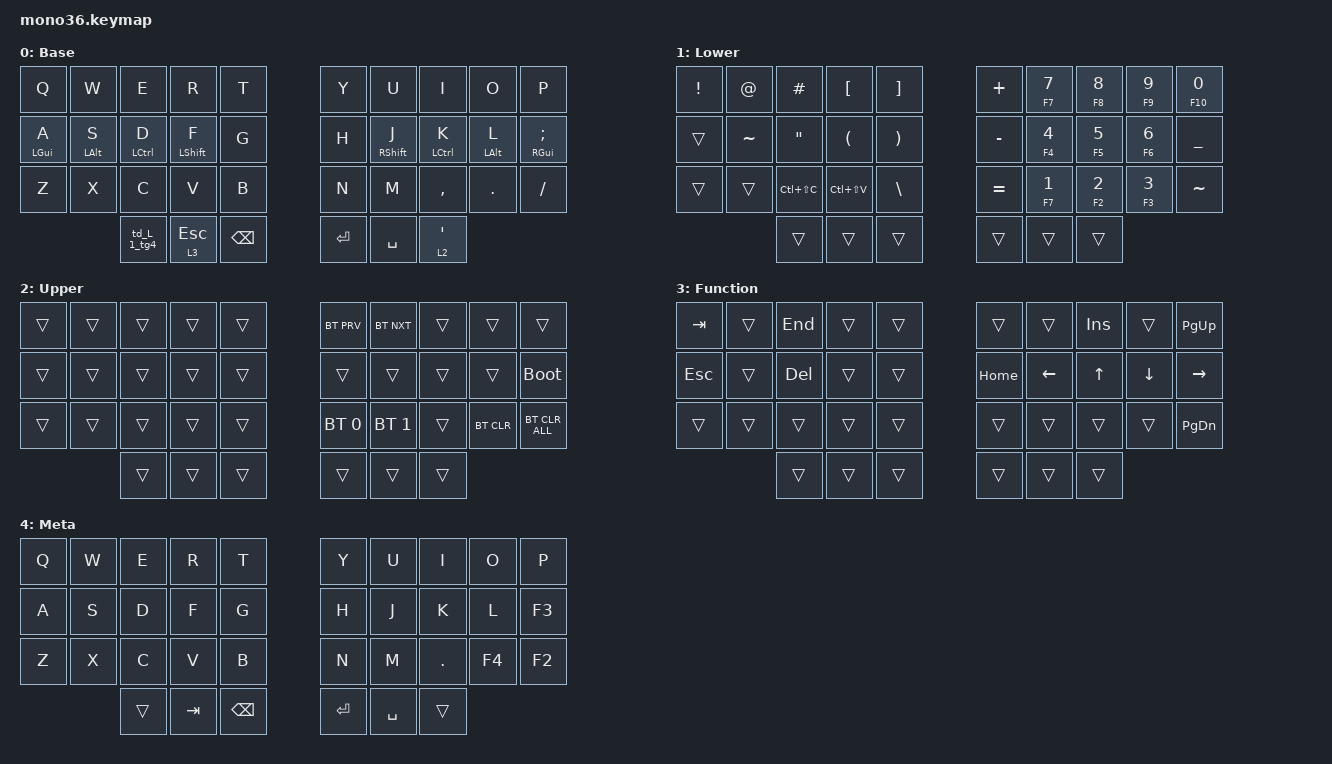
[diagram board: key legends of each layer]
/*
 * Copyright (c) 2023 The ZMK Contributors
 *
 * SPDX-License-Identifier: MIT
 */

#include <behaviors.dtsi>
#include <dt-bindings/zmk/bt.h>
#include <dt-bindings/zmk/keys.h>
#include <dt-bindings/zmk/mouse.h>

/ {
    chosen {
        // 34 keys.

        zmk,matrix-transform = &dual_1u_transform;

        // 33 keys. Center two thumb keys replaced by a single 2u key. Remember to adjust your
        // keymap accordingly!
        // zmk,matrix-transform = &single_2u_transform;
    };
};

/ {
    behaviors {
        td_L_1_tg4: td_L_1_tg4 {
            compatible = "zmk,behavior-tap-dance";
            #binding-cells = <0>;
            tapping-term-ms = <250>;
            bindings = <&mo 1>, <&tog 4>;
        };

        td_L_2_sqt: td_L_2_sqt {
            compatible = "zmk,behavior-tap-dance";
            #binding-cells = <0>;
            tapping-term-ms = <250>;
            bindings = <&kp SQT>, <&mo 2>;
        };

        rpi: require_prior_idle {
            compatible = "zmk,behavior-hold-tap";
            #binding-cells = <2>;
            flavor = "tap-preferred";
            tapping-term-ms = <200>;
            quick-tap-ms = <200>;
            require-prior-idle-ms = <100>;
            bindings = <&kp>, <&kp>;
        };

        rpi_a: rpi_a {
            compatible = "zmk,behavior-hold-tap";
            label = "RPI_A";
            #binding-cells = <2>;
            tapping-term-ms = <350>;
            quick-tap-ms = <220>;
            require-prior-idle-ms = <500>;
            flavor = "tap-preferred";
            bindings = <&kp>, <&kp>;
        };

        func: func {
            compatible = "zmk,behavior-hold-tap";
            label = "FUNC";
            bindings = <&kp>, <&kp>;

            #binding-cells = <2>;
            tapping-term-ms = <250>;
            flavor = "balanced";
            quick-tap-ms = <180>;
            require-prior-idle-ms = <115>;
            hold-trigger-key-positions = <16 17 18 6 7 8 9 28 27 26>;
        };
    };
};

/ {
    keymap {
        compatible = "zmk,keymap";

        base {
            display-name = "Base";
            bindings = <
&kp Q              &kp W        &kp E           &kp R         &kp T      &kp Y     &kp U         &kp I         &kp O          &kp P
&rpi_a LEFT_GUI A  &rpi LALT S  &rpi_a LCTRL D  &rpi LSHFT F  &kp G      &kp H     &rpi RSHFT J  &rpi LCTRL K  &rpi_a LALT L  &rpi RGUI SEMI
&kp Z              &kp X        &kp C           &kp V         &kp B      &kp N     &kp M         &kp COMMA     &kp DOT        &kp SLASH
                                                &td_L_1_tg4   &lt 3 ESC  &kp BSPC                &kp ENTER     &kp SPACE      &lt 2 SQT
            >;
        };

        lower {
            display-name = "Lower";
            bindings = <
&kp EXCL  &kp AT     &kp HASH       &kp LBKT              &kp RBKT               &kp PLUS   &func F7 N7  &func F8 N8  &func F9 N9  &func F10 N0
&trans    &kp TILDE  &kp DQT        &kp LEFT_PARENTHESIS  &kp RIGHT_PARENTHESIS  &kp MINUS  &func F4 N4  &func F5 N5  &func F6 N6  &kp UNDER
&trans    &trans     &kp LC(LS(C))  &kp LC(LS(V))         &kp BSLH               &kp EQUAL  &func F7 N1  &func F2 N2  &func F3 N3  &kp TILDE
                                    &trans                &trans                 &trans                  &trans       &trans       &trans
            >;
        };

        upper {
            display-name = "Upper";
            bindings = <
&trans  &trans  &trans  &trans  &trans  &bt BT_PRV    &bt BT_NXT    &trans  &trans      &trans
&trans  &trans  &trans  &trans  &trans  &trans        &trans        &trans  &trans      &bootloader
&trans  &trans  &trans  &trans  &trans  &bt BT_SEL 0  &bt BT_SEL 1  &trans  &bt BT_CLR  &bt BT_CLR_ALL
                        &trans  &trans  &trans                      &trans  &trans      &trans
            >;
        };

        function {
            display-name = "Function";
            bindings = <
&kp TAB  &trans  &kp END  &trans  &trans  &trans    &trans    &kp INS  &trans    &kp PG_UP
&kp ESC  &trans  &kp DEL  &trans  &trans  &kp HOME  &kp LEFT  &kp UP   &kp DOWN  &kp RIGHT
&trans   &trans  &trans   &trans  &trans  &trans    &trans    &trans   &trans    &kp PG_DN 
                          &trans  &trans  &trans              &trans   &trans    &trans 
/*&kp TAB  &trans  &kp END  &trans  &trans  &trans    &trans          &kp INS          &mmv MOVE_UP    &kp PG_UP
&kp ESC  &trans  &kp DEL  &trans  &trans  &kp HOME  &kp LEFT        &kp UP           &kp DOWN        &kp RIGHT
&trans   &trans  &trans   &trans  &trans  &trans    &mmv MOVE_LEFT  &mmv MOVE_RIGHT  &mmv MOVE_DOWN  &kp PG_DN
                          &trans  &trans  &trans                    &trans           &trans          &trans */
            >;
        };

        meta {
            display-name = "Meta";
            bindings = <
&kp Q  &kp W  &kp E  &kp R   &kp T    &kp Y     &kp U  &kp I      &kp O      &kp P
&kp A  &kp S  &kp D  &kp F   &kp G    &kp H     &kp J  &kp K      &kp L      &kp F3
&kp Z  &kp X  &kp C  &kp V   &kp B    &kp N     &kp M  &kp DOT    &kp F4     &kp F2
                     &trans  &kp TAB  &kp BSPC         &kp ENTER  &kp SPACE  &trans
            >;
        };
    };
};
